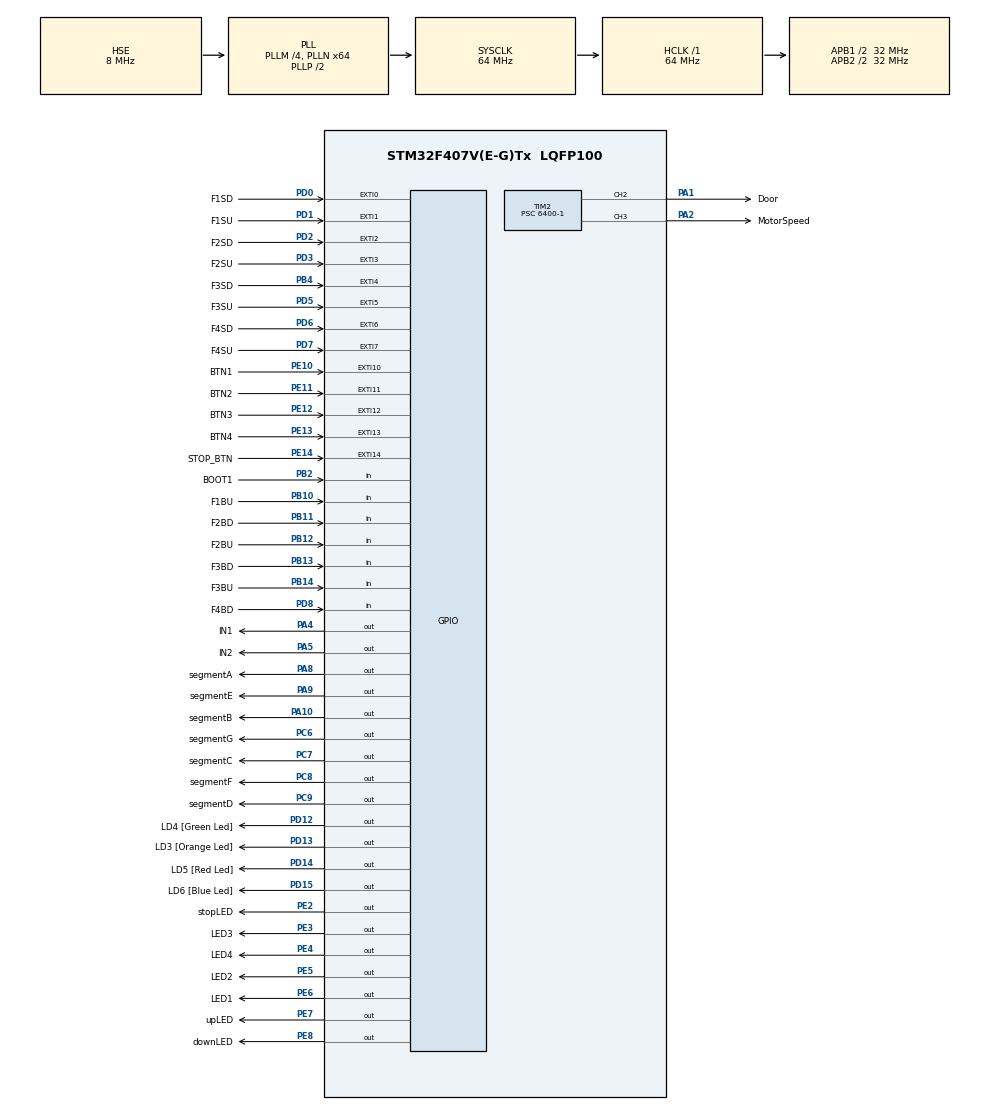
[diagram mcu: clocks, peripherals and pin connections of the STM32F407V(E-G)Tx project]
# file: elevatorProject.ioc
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Mcu.Family=STM32F4
Mcu.Name=STM32F407V(E-G)Tx
Mcu.Package=LQFP100
NVIC.EXTI0_IRQn=true\:0\:0\:false\:false\:true\:true\:true\:true
NVIC.EXTI15_10_IRQn=true\:0\:0\:false\:false\:true\:true\:true\:true
NVIC.EXTI1_IRQn=true\:0\:0\:false\:false\:true\:true\:true\:true
NVIC.EXTI2_IRQn=true\:0\:0\:false\:false\:true\:true\:true\:true
NVIC.EXTI3_IRQn=true\:0\:0\:false\:false\:true\:true\:true\:true
NVIC.EXTI4_IRQn=true\:0\:0\:false\:false\:true\:true\:true\:true
NVIC.EXTI9_5_IRQn=true\:0\:0\:false\:false\:true\:true\:true\:true
NVIC.PriorityGroup=NVIC_PRIORITYGROUP_0
PA1.GPIO_Label=Door
PA1.Signal=S_TIM2_CH2
PA10.GPIO_Label=segmentB
PA10.Signal=GPIO_Output
PA13.GPIO_Label=SWDIO
PA13.Mode=Serial_Wire
PA13.Signal=SYS_JTMS-SWDIO
PA14.GPIO_Label=SWCLK
PA14.Mode=Serial_Wire
PA14.Signal=SYS_JTCK-SWCLK
PA2.GPIO_Label=MotorSpeed
PA2.Signal=S_TIM2_CH3
PA4.GPIO_Label=IN1
PA4.Signal=GPIO_Output
PA5.GPIO_Label=IN2
PA5.Signal=GPIO_Output
PA8.GPIO_Label=segmentA
PA8.Signal=GPIO_Output
PA9.GPIO_Label=segmentE
PA9.Signal=GPIO_Output
PB10.GPIO_Label=F1BU
PB10.Signal=GPIO_Input
PB11.GPIO_Label=F2BD
PB11.Signal=GPIO_Input
PB12.GPIO_Label=F2BU
PB12.Signal=GPIO_Input
PB13.GPIO_Label=F3BD
PB13.Signal=GPIO_Input
PB14.GPIO_Label=F3BU
PB14.Signal=GPIO_Input
PB2.GPIO_Label=BOOT1
PB2.GPIO_Mode=GPIO_MODE_INPUT
PB2.GPIO_PuPd=GPIO_NOPULL
PB2.Signal=GPIO_Input
PB4.GPIO_Label=F3SD
PB4.GPIO_ModeDefaultEXTI=GPIO_MODE_IT_FALLING
PB4.GPIO_PuPd=GPIO_PULLDOWN
PB4.Signal=GPXTI4
PC14-OSC32_IN.GPIO_Label=PC14-OSC32_IN
PC14-OSC32_IN.Mode=LSE-External-Oscillator
PC14-OSC32_IN.Signal=RCC_OSC32_IN
PC15-OSC32_OUT.GPIO_Label=PC15-OSC32_OUT
PC15-OSC32_OUT.Mode=LSE-External-Oscillator
PC15-OSC32_OUT.Signal=RCC_OSC32_OUT
PC6.GPIO_Label=segmentG
PC6.Signal=GPIO_Output
PC7.GPIO_Label=segmentC
PC7.Signal=GPIO_Output
PC8.GPIO_Label=segmentF
PC8.Signal=GPIO_Output
PC9.GPIO_Label=segmentD
PC9.Signal=GPIO_Output
PD0.GPIO_Label=F1SD
PD0.GPIO_ModeDefaultEXTI=GPIO_MODE_IT_FALLING
PD0.GPIO_PuPd=GPIO_PULLDOWN
PD0.Signal=GPXTI0
PD1.GPIO_Label=F1SU
PD1.GPIO_ModeDefaultEXTI=GPIO_MODE_IT_FALLING
PD1.GPIO_PuPd=GPIO_PULLDOWN
PD1.Signal=GPXTI1
PD12.GPIO_Label=LD4 [Green Led]
PD12.GPIO_PuPd=GPIO_NOPULL
PD12.GPIO_Speed=GPIO_SPEED_FREQ_LOW
PD12.Signal=GPIO_Output
PD13.GPIO_Label=LD3 [Orange Led]
PD13.GPIO_PuPd=GPIO_NOPULL
PD13.GPIO_Speed=GPIO_SPEED_FREQ_LOW
PD13.Signal=GPIO_Output
PD14.GPIO_Label=LD5 [Red Led]
PD14.GPIO_PuPd=GPIO_NOPULL
PD14.GPIO_Speed=GPIO_SPEED_FREQ_LOW
PD14.Signal=GPIO_Output
PD15.GPIO_Label=LD6 [Blue Led]
PD15.GPIO_PuPd=GPIO_NOPULL
PD15.GPIO_Speed=GPIO_SPEED_FREQ_LOW
PD15.Signal=GPIO_Output
PD2.GPIO_Label=F2SD
PD2.GPIO_ModeDefaultEXTI=GPIO_MODE_IT_FALLING
PD2.GPIO_PuPd=GPIO_PULLDOWN
PD2.Signal=GPXTI2
PD3.GPIO_Label=F2SU
PD3.GPIO_ModeDefaultEXTI=GPIO_MODE_IT_FALLING
PD3.GPIO_PuPd=GPIO_PULLDOWN
PD3.Signal=GPXTI3
PD5.GPIO_Label=F3SU
PD5.GPIO_ModeDefaultEXTI=GPIO_MODE_IT_FALLING
PD5.GPIO_PuPd=GPIO_PULLDOWN
PD5.Signal=GPXTI5
PD6.GPIO_Label=F4SD
PD6.GPIO_ModeDefaultEXTI=GPIO_MODE_IT_FALLING
PD6.GPIO_PuPd=GPIO_PULLDOWN
PD6.Signal=GPXTI6
PD7.GPIO_Label=F4SU
PD7.GPIO_ModeDefaultEXTI=GPIO_MODE_IT_FALLING
PD7.GPIO_PuPd=GPIO_PULLDOWN
PD7.Signal=GPXTI7
PD8.GPIO_Label=F4BD
PD8.Signal=GPIO_Input
PE10.GPIO_Label=BTN1
PE10.GPIO_ModeDefaultEXTI=GPIO_MODE_IT_FALLING
PE10.GPIO_PuPd=GPIO_PULLUP
PE10.Signal=GPXTI10
PE11.GPIO_Label=BTN2
PE11.GPIO_ModeDefaultEXTI=GPIO_MODE_IT_FALLING
PE11.GPIO_PuPd=GPIO_PULLUP
PE11.Signal=GPXTI11
PE12.GPIO_Label=BTN3
PE12.GPIO_ModeDefaultEXTI=GPIO_MODE_IT_FALLING
PE12.GPIO_PuPd=GPIO_PULLUP
PE12.Signal=GPXTI12
PE13.GPIO_Label=BTN4
PE13.GPIO_ModeDefaultEXTI=GPIO_MODE_IT_FALLING
PE13.GPIO_PuPd=GPIO_PULLUP
PE13.Signal=GPXTI13
PE14.GPIO_Label=STOP_BTN
PE14.GPIO_ModeDefaultEXTI=GPIO_MODE_IT_FALLING
PE14.GPIO_PuPd=GPIO_PULLUP
PE14.Signal=GPXTI14
PE2.GPIO_Label=stopLED
PE2.Signal=GPIO_Output
PE3.GPIO_Label=LED3
PE3.Signal=GPIO_Output
PE4.GPIO_Label=LED4
PE4.Signal=GPIO_Output
PE5.GPIO_Label=LED2
PE5.Signal=GPIO_Output
PE6.GPIO_Label=LED1
PE6.Signal=GPIO_Output
PE7.GPIO_Label=upLED
PE7.Signal=GPIO_Output
PE8.GPIO_Label=downLED
PE8.Signal=GPIO_Output
PH0-OSC_IN.GPIO_Label=PH0-OSC_IN
PH0-OSC_IN.Mode=HSE-External-Oscillator
PH0-OSC_IN.Signal=RCC_OSC_IN
PH1-OSC_OUT.GPIO_Label=PH1-OSC_OUT
PH1-OSC_OUT.Mode=HSE-External-Oscillator
PH1-OSC_OUT.Signal=RCC_OSC_OUT
ProjectManager.HeapSize=0x200
ProjectManager.StackSize=0x400
ProjectManager.TargetToolchain=STM32CubeIDE
RCC.48MHZClocksFreq_Value=18285714.285714287
RCC.AHBFreq_Value=64000000
RCC.APB1CLKDivider=RCC_HCLK_DIV2
RCC.APB1Freq_Value=32000000
RCC.APB1TimFreq_Value=64000000
RCC.APB2CLKDivider=RCC_HCLK_DIV2
RCC.APB2Freq_Value=32000000
RCC.APB2TimFreq_Value=64000000
RCC.CortexFreq_Value=64000000
RCC.HCLKFreq_Value=64000000
RCC.HSE_VALUE=8000000
RCC.HSI_VALUE=16000000
RCC.PLLM=4
RCC.PLLN=64
RCC.PLLQ=7
RCC.PLLSourceVirtual=RCC_PLLSOURCE_HSE
RCC.SYSCLKFreq_VALUE=64000000
RCC.SYSCLKSource=RCC_SYSCLKSOURCE_PLLCLK
RCC.VCOOutputFreq_Value=128000000
SH.S_TIM2_CH2.0=TIM2_CH2,PWM Generation2 CH2
SH.S_TIM2_CH3.0=TIM2_CH3,PWM Generation3 CH3
TIM2.Channel-PWM\ Generation2\ CH2=TIM_CHANNEL_2
TIM2.Channel-PWM\ Generation3\ CH3=TIM_CHANNEL_3
TIM2.Period=100-1
TIM2.Prescaler=6400-1
board=STM32F407G-DISC1

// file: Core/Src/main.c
/* USER CODE BEGIN Header */
/**
 ******************************************************************************
 * @file           : main.c
 * @brief          : Main program body
 ******************************************************************************
 * @attention
 *
 * Copyright (c) 2023 STMicroelectronics.
 * All rights reserved.
 *
 * This software is licensed under terms that can be found in the LICENSE file
 * in the root directory of this software component.
 * If no LICENSE file comes with this software, it is provided AS-IS.
 *
 ******************************************************************************
 */
/* USER CODE END Header */
#include "main.h"

/* USER CODE BEGIN Includes */
#include "stdbool.h"
/* USER CODE END Includes */

/* USER CODE BEGIN PD */
#define Door TIM2->CCR2
#define MotorSpeed TIM2->CCR3
#define directionDown HAL_GPIO_WritePin(IN1_GPIO_Port, IN1_Pin, GPIO_PIN_SET); HAL_GPIO_WritePin(IN2_GPIO_Port, IN2_Pin, GPIO_PIN_RESET);
#define directionUp HAL_GPIO_WritePin(IN1_GPIO_Port, IN1_Pin, GPIO_PIN_RESET); HAL_GPIO_WritePin(IN2_GPIO_Port, IN2_Pin, GPIO_PIN_SET);
/* USER CODE END PD */

TIM_HandleTypeDef htim2;

/* USER CODE BEGIN PV */
bool floor1, floor2, floor3, floor4 = false;
bool isDirectionDown, isDirectionUp = false;
/* USER CODE END PV */

void SystemClock_Config(void);
static void MX_GPIO_Init(void);
static void MX_TIM2_Init(void);
/* USER CODE BEGIN PFP */
void zero();
void one();
void two();
void three();
void four();
void five();
void six();
void seven();
void eight();
void nine();
void digitClear();
void controllingMotor();
void initialStageDetect();
/* USER CODE END PFP */

int main(void)
{

  /* MCU Configuration--------------------------------------------------------*/

  /* Reset of all peripherals, Initializes the Flash interface and the Systick. */
  HAL_Init();

  /* Configure the system clock */
  SystemClock_Config();

  /* Initialize all configured peripherals */
  MX_GPIO_Init();
  MX_TIM2_Init();
  /* USER CODE BEGIN 2 */
	HAL_TIM_PWM_Start(&htim2, TIM_CHANNEL_2);
	HAL_TIM_PWM_Start(&htim2, TIM_CHANNEL_3);

	for (int i = 0; i < 100; i++) {
		Door = i;
		HAL_Delay(10);
	}
//	Door = 10;
	MotorSpeed = 25;

	zero();
	HAL_Delay(200);
	one();
	HAL_Delay(200);
	two();
	HAL_Delay(200);
	three();
	HAL_Delay(200);
	four();
	HAL_Delay(200);
	five();
	HAL_Delay(200);
	six();
	HAL_Delay(200);
	seven();
	HAL_Delay(200);
	eight();
	HAL_Delay(200);
	nine();
	HAL_Delay(200);
	digitClear();
	HAL_GPIO_WritePin(LED1_GPIO_Port, LED1_Pin, GPIO_PIN_SET);
	HAL_Delay(200);
	HAL_GPIO_WritePin(LED1_GPIO_Port, LED1_Pin, GPIO_PIN_RESET);
	HAL_Delay(200);
	HAL_GPIO_WritePin(LED2_GPIO_Port, LED2_Pin, GPIO_PIN_SET);
	HAL_Delay(200);
	HAL_GPIO_WritePin(LED2_GPIO_Port, LED2_Pin, GPIO_PIN_RESET);
	HAL_Delay(200);
	HAL_GPIO_WritePin(LED3_GPIO_Port, LED3_Pin, GPIO_PIN_SET);
	HAL_Delay(200);
	HAL_GPIO_WritePin(LED3_GPIO_Port, LED3_Pin, GPIO_PIN_RESET);
	HAL_Delay(200);
	HAL_GPIO_WritePin(LED4_GPIO_Port, LED4_Pin, GPIO_PIN_SET);
	HAL_Delay(200);
	HAL_GPIO_WritePin(LED4_GPIO_Port, LED4_Pin, GPIO_PIN_RESET);
	HAL_Delay(200);
	HAL_GPIO_WritePin(stopLED_GPIO_Port, stopLED_Pin, GPIO_PIN_SET);
	HAL_Delay(200);
	HAL_GPIO_WritePin(stopLED_GPIO_Port, stopLED_Pin, GPIO_PIN_RESET);
	HAL_Delay(200);
	HAL_GPIO_WritePin(upLED_GPIO_Port, upLED_Pin, GPIO_PIN_SET);
	HAL_Delay(200);
	HAL_GPIO_WritePin(upLED_GPIO_Port, upLED_Pin, GPIO_PIN_RESET);
	HAL_Delay(200);
	HAL_GPIO_WritePin(downLED_GPIO_Port, downLED_Pin, GPIO_PIN_SET);
	HAL_Delay(200);
	HAL_GPIO_WritePin(downLED_GPIO_Port, downLED_Pin, GPIO_PIN_RESET);
	HAL_Delay(200);

     initialStageDetect();
  /* USER CODE END 2 */

  /* Infinite loop */
	while (1) {

    /* USER CODE BEGIN 3 */
		if (floor1) {
			floor1 = false;
			one();
		}
		if (floor2) {
			floor2 = false;
			two();
		}
		if (floor3) {
			floor3 = false;
			three();
		}
		if (floor4) {
			floor4 = false;
			four();
		}
		directionDown
		;
		HAL_Delay(3000);
		directionUp
		;
		HAL_Delay(6000);
	}
  /* USER CODE END 3 */
}

void SystemClock_Config(void)
{
  RCC_OscInitTypeDef RCC_OscInitStruct = {0};
  RCC_ClkInitTypeDef RCC_ClkInitStruct = {0};

  /** Configure the main internal regulator output voltage
  */
  __HAL_RCC_PWR_CLK_ENABLE();
  __HAL_PWR_VOLTAGESCALING_CONFIG(PWR_REGULATOR_VOLTAGE_SCALE1);

  /** Initializes the RCC Oscillators according to the specified parameters
  * in the RCC_OscInitTypeDef structure.
  */
  RCC_OscInitStruct.OscillatorType = RCC_OSCILLATORTYPE_HSE;
  RCC_OscInitStruct.HSEState = RCC_HSE_ON;
  RCC_OscInitStruct.PLL.PLLState = RCC_PLL_ON;
  RCC_OscInitStruct.PLL.PLLSource = RCC_PLLSOURCE_HSE;
  RCC_OscInitStruct.PLL.PLLM = 4;
  RCC_OscInitStruct.PLL.PLLN = 64;
  RCC_OscInitStruct.PLL.PLLP = RCC_PLLP_DIV2;
  RCC_OscInitStruct.PLL.PLLQ = 7;
  if (HAL_RCC_OscConfig(&RCC_OscInitStruct) != HAL_OK)
  {
    Error_Handler();
  }

  /** Initializes the CPU, AHB and APB buses clocks
  */
  RCC_ClkInitStruct.ClockType = RCC_CLOCKTYPE_HCLK|RCC_CLOCKTYPE_SYSCLK
                              |RCC_CLOCKTYPE_PCLK1|RCC_CLOCKTYPE_PCLK2;
  RCC_ClkInitStruct.SYSCLKSource = RCC_SYSCLKSOURCE_PLLCLK;
  RCC_ClkInitStruct.AHBCLKDivider = RCC_SYSCLK_DIV1;
  RCC_ClkInitStruct.APB1CLKDivider = RCC_HCLK_DIV2;
  RCC_ClkInitStruct.APB2CLKDivider = RCC_HCLK_DIV2;

  if (HAL_RCC_ClockConfig(&RCC_ClkInitStruct, FLASH_LATENCY_2) != HAL_OK)
  {
    Error_Handler();
  }
}

static void MX_TIM2_Init(void)
{

  TIM_MasterConfigTypeDef sMasterConfig = {0};
  TIM_OC_InitTypeDef sConfigOC = {0};

  htim2.Instance = TIM2;
  htim2.Init.Prescaler = 6400-1;
  htim2.Init.CounterMode = TIM_COUNTERMODE_UP;
  htim2.Init.Period = 100-1;
  htim2.Init.ClockDivision = TIM_CLOCKDIVISION_DIV1;
  htim2.Init.AutoReloadPreload = TIM_AUTORELOAD_PRELOAD_DISABLE;
  if (HAL_TIM_PWM_Init(&htim2) != HAL_OK)
  {
    Error_Handler();
  }
  sMasterConfig.MasterOutputTrigger = TIM_TRGO_RESET;
  sMasterConfig.MasterSlaveMode = TIM_MASTERSLAVEMODE_DISABLE;
  if (HAL_TIMEx_MasterConfigSynchronization(&htim2, &sMasterConfig) != HAL_OK)
  {
    Error_Handler();
  }
  sConfigOC.OCMode = TIM_OCMODE_PWM1;
  sConfigOC.Pulse = 0;
  sConfigOC.OCPolarity = TIM_OCPOLARITY_HIGH;
  sConfigOC.OCFastMode = TIM_OCFAST_DISABLE;
  if (HAL_TIM_PWM_ConfigChannel(&htim2, &sConfigOC, TIM_CHANNEL_2) != HAL_OK)
  {
    Error_Handler();
  }
  if (HAL_TIM_PWM_ConfigChannel(&htim2, &sConfigOC, TIM_CHANNEL_3) != HAL_OK)
  {
    Error_Handler();
  }
  HAL_TIM_MspPostInit(&htim2);

}

static void MX_GPIO_Init(void)
{
  GPIO_InitTypeDef GPIO_InitStruct = {0};

  /* GPIO Ports Clock Enable */
  __HAL_RCC_GPIOE_CLK_ENABLE();
  __HAL_RCC_GPIOC_CLK_ENABLE();
  __HAL_RCC_GPIOH_CLK_ENABLE();
  __HAL_RCC_GPIOA_CLK_ENABLE();
  __HAL_RCC_GPIOB_CLK_ENABLE();
  __HAL_RCC_GPIOD_CLK_ENABLE();

  /*Configure GPIO pin Output Level */
  HAL_GPIO_WritePin(GPIOE, stopLED_Pin|LED3_Pin|LED4_Pin|LED2_Pin
                          |LED1_Pin|upLED_Pin|downLED_Pin, GPIO_PIN_RESET);

  /*Configure GPIO pin Output Level */
  HAL_GPIO_WritePin(GPIOA, IN1_Pin|IN2_Pin|segmentA_Pin|segmentE_Pin
                          |segmentB_Pin, GPIO_PIN_RESET);

  /*Configure GPIO pin Output Level */
  HAL_GPIO_WritePin(GPIOD, LD4_Pin|LD3_Pin|LD5_Pin|LD6_Pin, GPIO_PIN_RESET);

  /*Configure GPIO pin Output Level */
  HAL_GPIO_WritePin(GPIOC, segmentG_Pin|segmentC_Pin|segmentF_Pin|segmentD_Pin, GPIO_PIN_RESET);

  /*Configure GPIO pins : stopLED_Pin LED3_Pin LED4_Pin LED2_Pin
                           LED1_Pin upLED_Pin downLED_Pin */
  GPIO_InitStruct.Pin = stopLED_Pin|LED3_Pin|LED4_Pin|LED2_Pin
                          |LED1_Pin|upLED_Pin|downLED_Pin;
  GPIO_InitStruct.Mode = GPIO_MODE_OUTPUT_PP;
  GPIO_InitStruct.Pull = GPIO_NOPULL;
  GPIO_InitStruct.Speed = GPIO_SPEED_FREQ_LOW;
  HAL_GPIO_Init(GPIOE, &GPIO_InitStruct);

  /*Configure GPIO pins : IN1_Pin IN2_Pin segmentA_Pin segmentE_Pin
                           segmentB_Pin */
  GPIO_InitStruct.Pin = IN1_Pin|IN2_Pin|segmentA_Pin|segmentE_Pin
                          |segmentB_Pin;
  GPIO_InitStruct.Mode = GPIO_MODE_OUTPUT_PP;
  GPIO_InitStruct.Pull = GPIO_NOPULL;
  GPIO_InitStruct.Speed = GPIO_SPEED_FREQ_LOW;
  HAL_GPIO_Init(GPIOA, &GPIO_InitStruct);

  /*Configure GPIO pins : BOOT1_Pin F1BU_Pin F2BD_Pin F2BU_Pin
                           F3BD_Pin F3BU_Pin */
  GPIO_InitStruct.Pin = BOOT1_Pin|F1BU_Pin|F2BD_Pin|F2BU_Pin
                          |F3BD_Pin|F3BU_Pin;
  GPIO_InitStruct.Mode = GPIO_MODE_INPUT;
  GPIO_InitStruct.Pull = GPIO_NOPULL;
  HAL_GPIO_Init(GPIOB, &GPIO_InitStruct);

  /*Configure GPIO pins : BTN1_Pin BTN2_Pin BTN3_Pin BTN4_Pin
                           STOP_BTN_Pin */
  GPIO_InitStruct.Pin = BTN1_Pin|BTN2_Pin|BTN3_Pin|BTN4_Pin
                          |STOP_BTN_Pin;
  GPIO_InitStruct.Mode = GPIO_MODE_IT_FALLING;
  GPIO_InitStruct.Pull = GPIO_PULLUP;
  HAL_GPIO_Init(GPIOE, &GPIO_InitStruct);

  /*Configure GPIO pin : F4BD_Pin */
  GPIO_InitStruct.Pin = F4BD_Pin;
  GPIO_InitStruct.Mode = GPIO_MODE_INPUT;
  GPIO_InitStruct.Pull = GPIO_NOPULL;
  HAL_GPIO_Init(F4BD_GPIO_Port, &GPIO_InitStruct);

  /*Configure GPIO pins : LD4_Pin LD3_Pin LD5_Pin LD6_Pin */
  GPIO_InitStruct.Pin = LD4_Pin|LD3_Pin|LD5_Pin|LD6_Pin;
  GPIO_InitStruct.Mode = GPIO_MODE_OUTPUT_PP;
  GPIO_InitStruct.Pull = GPIO_NOPULL;
  GPIO_InitStruct.Speed = GPIO_SPEED_FREQ_LOW;
  HAL_GPIO_Init(GPIOD, &GPIO_InitStruct);

  /*Configure GPIO pins : segmentG_Pin segmentC_Pin segmentF_Pin segmentD_Pin */
  GPIO_InitStruct.Pin = segmentG_Pin|segmentC_Pin|segmentF_Pin|segmentD_Pin;
  GPIO_InitStruct.Mode = GPIO_MODE_OUTPUT_PP;
  GPIO_InitStruct.Pull = GPIO_NOPULL;
  GPIO_InitStruct.Speed = GPIO_SPEED_FREQ_LOW;
  HAL_GPIO_Init(GPIOC, &GPIO_InitStruct);

  /*Configure GPIO pins : F1SD_Pin F1SU_Pin F2SD_Pin F2SU_Pin
                           F3SU_Pin F4SD_Pin F4SU_Pin */
  GPIO_InitStruct.Pin = F1SD_Pin|F1SU_Pin|F2SD_Pin|F2SU_Pin
                          |F3SU_Pin|F4SD_Pin|F4SU_Pin;
  GPIO_InitStruct.Mode = GPIO_MODE_IT_FALLING;
  GPIO_InitStruct.Pull = GPIO_PULLDOWN;
  HAL_GPIO_Init(GPIOD, &GPIO_InitStruct);

  /*Configure GPIO pin : F3SD_Pin */
  GPIO_InitStruct.Pin = F3SD_Pin;
  GPIO_InitStruct.Mode = GPIO_MODE_IT_FALLING;
  GPIO_InitStruct.Pull = GPIO_PULLDOWN;
  HAL_GPIO_Init(F3SD_GPIO_Port, &GPIO_InitStruct);

  /* EXTI interrupt init*/
  HAL_NVIC_SetPriority(EXTI0_IRQn, 0, 0);
  HAL_NVIC_EnableIRQ(EXTI0_IRQn);

  HAL_NVIC_SetPriority(EXTI1_IRQn, 0, 0);
  HAL_NVIC_EnableIRQ(EXTI1_IRQn);

  HAL_NVIC_SetPriority(EXTI2_IRQn, 0, 0);
  HAL_NVIC_EnableIRQ(EXTI2_IRQn);

  HAL_NVIC_SetPriority(EXTI3_IRQn, 0, 0);
  HAL_NVIC_EnableIRQ(EXTI3_IRQn);

  HAL_NVIC_SetPriority(EXTI4_IRQn, 0, 0);
  HAL_NVIC_EnableIRQ(EXTI4_IRQn);

  HAL_NVIC_SetPriority(EXTI9_5_IRQn, 0, 0);
  HAL_NVIC_EnableIRQ(EXTI9_5_IRQn);

  HAL_NVIC_SetPriority(EXTI15_10_IRQn, 0, 0);
  HAL_NVIC_EnableIRQ(EXTI15_10_IRQn);

}

/* USER CODE BEGIN 4 */
void zero() {
	HAL_GPIO_WritePin(segmentA_GPIO_Port, segmentA_Pin, GPIO_PIN_SET);
	HAL_GPIO_WritePin(segmentB_GPIO_Port, segmentB_Pin, GPIO_PIN_SET);
	HAL_GPIO_WritePin(segmentC_GPIO_Port, segmentC_Pin, GPIO_PIN_SET);
	HAL_GPIO_WritePin(segmentD_GPIO_Port, segmentD_Pin, GPIO_PIN_SET);
	HAL_GPIO_WritePin(segmentE_GPIO_Port, segmentE_Pin, GPIO_PIN_SET);
	HAL_GPIO_WritePin(segmentF_GPIO_Port, segmentF_Pin, GPIO_PIN_SET);
	HAL_GPIO_WritePin(segmentG_GPIO_Port, segmentG_Pin, GPIO_PIN_RESET);
}

void one() {
	HAL_GPIO_WritePin(segmentA_GPIO_Port, segmentA_Pin, GPIO_PIN_RESET);
	HAL_GPIO_WritePin(segmentB_GPIO_Port, segmentB_Pin, GPIO_PIN_SET);
	HAL_GPIO_WritePin(segmentC_GPIO_Port, segmentC_Pin, GPIO_PIN_SET);
	HAL_GPIO_WritePin(segmentD_GPIO_Port, segmentD_Pin, GPIO_PIN_RESET);
	HAL_GPIO_WritePin(segmentE_GPIO_Port, segmentE_Pin, GPIO_PIN_RESET);
	HAL_GPIO_WritePin(segmentF_GPIO_Port, segmentF_Pin, GPIO_PIN_RESET);
	HAL_GPIO_WritePin(segmentG_GPIO_Port, segmentG_Pin, GPIO_PIN_RESET);
}

void two() {
	HAL_GPIO_WritePin(segmentA_GPIO_Port, segmentA_Pin, GPIO_PIN_SET);
	HAL_GPIO_WritePin(segmentB_GPIO_Port, segmentB_Pin, GPIO_PIN_SET);
	HAL_GPIO_WritePin(segmentC_GPIO_Port, segmentC_Pin, GPIO_PIN_RESET);
	HAL_GPIO_WritePin(segmentD_GPIO_Port, segmentD_Pin, GPIO_PIN_SET);
	HAL_GPIO_WritePin(segmentE_GPIO_Port, segmentE_Pin, GPIO_PIN_SET);
	HAL_GPIO_WritePin(segmentF_GPIO_Port, segmentF_Pin, GPIO_PIN_RESET);
	HAL_GPIO_WritePin(segmentG_GPIO_Port, segmentG_Pin, GPIO_PIN_SET);
}

void three() {
	HAL_GPIO_WritePin(segmentA_GPIO_Port, segmentA_Pin, GPIO_PIN_SET);
	HAL_GPIO_WritePin(segmentB_GPIO_Port, segmentB_Pin, GPIO_PIN_SET);
	HAL_GPIO_WritePin(segmentC_GPIO_Port, segmentC_Pin, GPIO_PIN_SET);
	HAL_GPIO_WritePin(segmentD_GPIO_Port, segmentD_Pin, GPIO_PIN_SET);
	HAL_GPIO_WritePin(segmentE_GPIO_Port, segmentE_Pin, GPIO_PIN_RESET);
	HAL_GPIO_WritePin(segmentF_GPIO_Port, segmentF_Pin, GPIO_PIN_RESET);
	HAL_GPIO_WritePin(segmentG_GPIO_Port, segmentG_Pin, GPIO_PIN_SET);
}

void four() {
	HAL_GPIO_WritePin(segmentA_GPIO_Port, segmentA_Pin, GPIO_PIN_RESET);
	HAL_GPIO_WritePin(segmentB_GPIO_Port, segmentB_Pin, GPIO_PIN_SET);
	HAL_GPIO_WritePin(segmentC_GPIO_Port, segmentC_Pin, GPIO_PIN_SET);
	HAL_GPIO_WritePin(segmentD_GPIO_Port, segmentD_Pin, GPIO_PIN_RESET);
	HAL_GPIO_WritePin(segmentE_GPIO_Port, segmentE_Pin, GPIO_PIN_RESET);
	HAL_GPIO_WritePin(segmentF_GPIO_Port, segmentF_Pin, GPIO_PIN_SET);
	HAL_GPIO_WritePin(segmentG_GPIO_Port, segmentG_Pin, GPIO_PIN_SET);
}

void five() {
	HAL_GPIO_WritePin(segmentA_GPIO_Port, segmentA_Pin, GPIO_PIN_SET);
	HAL_GPIO_WritePin(segmentB_GPIO_Port, segmentB_Pin, GPIO_PIN_RESET);
	HAL_GPIO_WritePin(segmentC_GPIO_Port, segmentC_Pin, GPIO_PIN_SET);
	HAL_GPIO_WritePin(segmentD_GPIO_Port, segmentD_Pin, GPIO_PIN_SET);
	HAL_GPIO_WritePin(segmentE_GPIO_Port, segmentE_Pin, GPIO_PIN_RESET);
	HAL_GPIO_WritePin(segmentF_GPIO_Port, segmentF_Pin, GPIO_PIN_SET);
	HAL_GPIO_WritePin(segmentG_GPIO_Port, segmentG_Pin, GPIO_PIN_SET);
}

void six() {
	HAL_GPIO_WritePin(segmentA_GPIO_Port, segmentA_Pin, GPIO_PIN_SET);
	HAL_GPIO_WritePin(segmentB_GPIO_Port, segmentB_Pin, GPIO_PIN_RESET);
	HAL_GPIO_WritePin(segmentC_GPIO_Port, segmentC_Pin, GPIO_PIN_SET);
	HAL_GPIO_WritePin(segmentD_GPIO_Port, segmentD_Pin, GPIO_PIN_SET);
	HAL_GPIO_WritePin(segmentE_GPIO_Port, segmentE_Pin, GPIO_PIN_SET);
	HAL_GPIO_WritePin(segmentF_GPIO_Port, segmentF_Pin, GPIO_PIN_SET);
	HAL_GPIO_WritePin(segmentG_GPIO_Port, segmentG_Pin, GPIO_PIN_SET);
}

void seven() {
	HAL_GPIO_WritePin(segmentA_GPIO_Port, segmentA_Pin, GPIO_PIN_SET);
	HAL_GPIO_WritePin(segmentB_GPIO_Port, segmentB_Pin, GPIO_PIN_SET);
	HAL_GPIO_WritePin(segmentC_GPIO_Port, segmentC_Pin, GPIO_PIN_SET);
	HAL_GPIO_WritePin(segmentD_GPIO_Port, segmentD_Pin, GPIO_PIN_RESET);
	HAL_GPIO_WritePin(segmentE_GPIO_Port, segmentE_Pin, GPIO_PIN_RESET);
	HAL_GPIO_WritePin(segmentF_GPIO_Port, segmentF_Pin, GPIO_PIN_RESET);
	HAL_GPIO_WritePin(segmentG_GPIO_Port, segmentG_Pin, GPIO_PIN_RESET);
}

void eight() {
	HAL_GPIO_WritePin(segmentA_GPIO_Port, segmentA_Pin, GPIO_PIN_SET);
	HAL_GPIO_WritePin(segmentB_GPIO_Port, segmentB_Pin, GPIO_PIN_SET);
	HAL_GPIO_WritePin(segmentC_GPIO_Port, segmentC_Pin, GPIO_PIN_SET);
	HAL_GPIO_WritePin(segmentD_GPIO_Port, segmentD_Pin, GPIO_PIN_SET);
	HAL_GPIO_WritePin(segmentE_GPIO_Port, segmentE_Pin, GPIO_PIN_SET);
	HAL_GPIO_WritePin(segmentF_GPIO_Port, segmentF_Pin, GPIO_PIN_SET);
	HAL_GPIO_WritePin(segmentG_GPIO_Port, segmentG_Pin, GPIO_PIN_SET);
}

void nine() {
	HAL_GPIO_WritePin(segmentA_GPIO_Port, segmentA_Pin, GPIO_PIN_SET);
	HAL_GPIO_WritePin(segmentB_GPIO_Port, segmentB_Pin, GPIO_PIN_SET);
	HAL_GPIO_WritePin(segmentC_GPIO_Port, segmentC_Pin, GPIO_PIN_SET);
	HAL_GPIO_WritePin(segmentD_GPIO_Port, segmentD_Pin, GPIO_PIN_SET);
	HAL_GPIO_WritePin(segmentE_GPIO_Port, segmentE_Pin, GPIO_PIN_RESET);
	HAL_GPIO_WritePin(segmentF_GPIO_Port, segmentF_Pin, GPIO_PIN_SET);
	HAL_GPIO_WritePin(segmentG_GPIO_Port, segmentG_Pin, GPIO_PIN_SET);
}

void digitClear() {
	HAL_GPIO_WritePin(segmentA_GPIO_Port, segmentA_Pin, GPIO_PIN_RESET);
	HAL_GPIO_WritePin(segmentB_GPIO_Port, segmentB_Pin, GPIO_PIN_RESET);
	HAL_GPIO_WritePin(segmentC_GPIO_Port, segmentC_Pin, GPIO_PIN_RESET);
	HAL_GPIO_WritePin(segmentD_GPIO_Port, segmentD_Pin, GPIO_PIN_RESET);
	HAL_GPIO_WritePin(segmentE_GPIO_Port, segmentE_Pin, GPIO_PIN_RESET);
	HAL_GPIO_WritePin(segmentF_GPIO_Port, segmentF_Pin, GPIO_PIN_RESET);
	HAL_GPIO_WritePin(segmentG_GPIO_Port, segmentG_Pin, GPIO_PIN_RESET);
}

void controllingMotor() {
	//motorSpeed = 50;

}

void initialStageDetect() {

	if (HAL_GPIO_ReadPin(F1SU_GPIO_Port, F1SU_Pin) == 0
			&& HAL_GPIO_ReadPin(F1SD_GPIO_Port, F1SD_Pin) == 0) {
		return;
	}
	if (HAL_GPIO_ReadPin(F2SU_GPIO_Port, F2SU_Pin) == 0
			&& HAL_GPIO_ReadPin(F2SD_GPIO_Port, F2SD_Pin) == 0) {
		return;
	}
	if (HAL_GPIO_ReadPin(F3SU_GPIO_Port, F3SU_Pin) == 0
			&& HAL_GPIO_ReadPin(F3SD_GPIO_Port, F3SD_Pin) == 0) {
		return;
	}
	if (HAL_GPIO_ReadPin(F4SU_GPIO_Port, F4SU_Pin) == 0
			&& HAL_GPIO_ReadPin(F4SD_GPIO_Port, F4SD_Pin) == 0) {
		return;
	}
	if (HAL_GPIO_ReadPin(F1SU_GPIO_Port, F1SU_Pin) == 0) {
		directionDown
		;
		isDirectionDown = true;
		MotorSpeed = 25;
		return;
	}
	if (HAL_GPIO_ReadPin(F2SU_GPIO_Port, F2SU_Pin) == 0) {
		directionDown
		;
		isDirectionDown = true;
		MotorSpeed = 25;
		return;

	}
	if (HAL_GPIO_ReadPin(F3SU_GPIO_Port, F3SU_Pin) == 0) {
		directionDown
		;
		isDirectionDown = true;
		MotorSpeed = 25;
		return;
	}
	if (HAL_GPIO_ReadPin(F4SU_GPIO_Port, F4SU_Pin) == 0) {
		directionDown
		;
		isDirectionDown = true;
		MotorSpeed = 25;
		return;
	}
	if (HAL_GPIO_ReadPin(F1SD_GPIO_Port, F1SD_Pin) == 0) {
		directionUp
		;
		isDirectionUp = true;
		MotorSpeed = 25;
		return;
	}
	if (HAL_GPIO_ReadPin(F2SD_GPIO_Port, F2SD_Pin) == 0) {
		directionUp
		;
		isDirectionUp = true;
		MotorSpeed = 25;
		return;
	}
	if (HAL_GPIO_ReadPin(F3SD_GPIO_Port, F3SD_Pin) == 0) {
		directionUp
		;
		isDirectionUp = true;
		MotorSpeed = 25;
		return;
	}
	if (HAL_GPIO_ReadPin(F4SD_GPIO_Port, F4SD_Pin) == 0) {
		directionUp
		;
		isDirectionUp = true;
		MotorSpeed = 25;
		return;
	}

}

void HAL_GPIO_EXTI_Callback(uint16_t GPIO_Pin) {
	if (isDirectionDown && GPIO_Pin == F1SD_Pin) {
		MotorSpeed = 0;
		isDirectionDown = false;
	}
	if (isDirectionDown && GPIO_Pin == F2SD_Pin) {
		MotorSpeed = 0;
		isDirectionDown = false;
	}
	if (isDirectionDown && GPIO_Pin == F3SD_Pin) {
		MotorSpeed = 0;
		isDirectionDown = false;
	}
	if (isDirectionDown && GPIO_Pin == F4SD_Pin) {
		MotorSpeed = 0;
		isDirectionDown = false;
	}
	if (isDirectionUp && GPIO_Pin == F1SU_Pin) {
		MotorSpeed = 0;
		isDirectionUp = false;
	}
	if (isDirectionUp && GPIO_Pin == F2SU_Pin) {
		MotorSpeed = 0;
		isDirectionUp = false;
	}
	if (isDirectionUp && GPIO_Pin == F3SU_Pin) {
		MotorSpeed = 0;
		isDirectionUp = false;
	}
	if (isDirectionUp && GPIO_Pin == F4SU_Pin) {
		MotorSpeed = 0;
		isDirectionUp = false;
	}

}
/* USER CODE END 4 */

void Error_Handler(void)
{
	__disable_irq();
	while (1) {
	}
}
